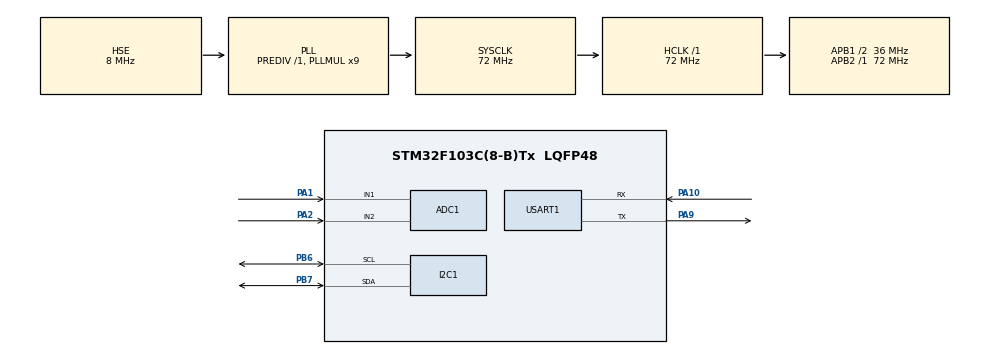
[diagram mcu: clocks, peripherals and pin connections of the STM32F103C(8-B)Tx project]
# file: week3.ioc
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ADC1.Channel-0\#ChannelRegularConversion=ADC_CHANNEL_1
ADC1.Channel-1\#ChannelRegularConversion=ADC_CHANNEL_2
ADC1.ContinuousConvMode=DISABLE
ADC1.DiscontinuousConvMode=ENABLE
ADC1.NbrOfConversion=2
ADC1.NbrOfConversionFlag=1
ADC1.Rank-0\#ChannelRegularConversion=1
ADC1.Rank-1\#ChannelRegularConversion=2
ADC1.SamplingTime-0\#ChannelRegularConversion=ADC_SAMPLETIME_239CYCLES_5
ADC1.SamplingTime-1\#ChannelRegularConversion=ADC_SAMPLETIME_239CYCLES_5
ADC1.master=1
I2C1.I2C_Mode=I2C_Fast
Mcu.Family=STM32F1
Mcu.Name=STM32F103C(8-B)Tx
Mcu.Package=LQFP48
NVIC.ADC1_2_IRQn=true\:0\:0\:false\:false\:true\:true\:true\:true
NVIC.PriorityGroup=NVIC_PRIORITYGROUP_4
NVIC.USART1_IRQn=true\:2\:0\:true\:false\:true\:true\:true\:true
PA1.Signal=ADCx_IN1
PA10.Mode=Asynchronous
PA10.Signal=USART1_RX
PA13.Mode=Serial_Wire
PA13.Signal=SYS_JTMS-SWDIO
PA14.Mode=Serial_Wire
PA14.Signal=SYS_JTCK-SWCLK
PA2.Signal=ADCx_IN2
PA9.Mode=Asynchronous
PA9.Signal=USART1_TX
PB6.Mode=I2C
PB6.Signal=I2C1_SCL
PB7.Mode=I2C
PB7.Signal=I2C1_SDA
PD0-OSC_IN.Mode=HSE-External-Oscillator
PD0-OSC_IN.Signal=RCC_OSC_IN
PD1-OSC_OUT.Mode=HSE-External-Oscillator
PD1-OSC_OUT.Signal=RCC_OSC_OUT
ProjectManager.HeapSize=0x200
ProjectManager.StackSize=0x400
ProjectManager.TargetToolchain=Makefile
RCC.ADCPresc=RCC_ADCPCLK2_DIV6
RCC.AHBFreq_Value=72000000
RCC.APB1CLKDivider=RCC_HCLK_DIV2
RCC.APB1Freq_Value=36000000
RCC.APB1TimFreq_Value=72000000
RCC.APB2Freq_Value=72000000
RCC.APB2TimFreq_Value=72000000
RCC.HCLKFreq_Value=72000000
RCC.PLLMUL=RCC_PLL_MUL9
RCC.PLLSourceVirtual=RCC_PLLSOURCE_HSE
RCC.SYSCLKFreq_VALUE=72000000
RCC.SYSCLKSource=RCC_SYSCLKSOURCE_PLLCLK
RCC.USBFreq_Value=72000000
SH.ADCx_IN1.0=ADC1_IN1,IN1
SH.ADCx_IN2.0=ADC1_IN2,IN2
USART1.VirtualMode=VM_ASYNC
board=custom

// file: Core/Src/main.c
/* USER CODE BEGIN Header */
/**
  ******************************************************************************
  * @file           : main.c
  * @brief          : Main program body
  ******************************************************************************
  * @attention
  *
  * Copyright (c) 2026 STMicroelectronics.
  * All rights reserved.
  *
  * This software is licensed under terms that can be found in the LICENSE file
  * in the root directory of this software component.
  * If no LICENSE file comes with this software, it is provided AS-IS.
  *
  ******************************************************************************
  */
/* USER CODE END Header */
#include "main.h"
#include "adc.h"
#include "i2c.h"
#include "usart.h"
#include "gpio.h"

/* USER CODE BEGIN Includes */
#include "stdio.h"
#include "string.h"

#include "math.h"
#include "stdarg.h"
#include "OLED.h"
/* USER CODE END Includes */

/* USER CODE BEGIN PD */
#define PI 3.1415926f
/* USER CODE END PD */

void SystemClock_Config(void);

/* USER CODE BEGIN 0 */
uint8_t Receive_Data[1] = {0}; //接收数据数组
float data_test[1] = {0}; //接收数据数组
float t = 0.0f;
uint8_t receivedByte;

  void Vofa_FireWater(const char *format, ...)
  {
      uint8_t txBuffer[100];
      uint32_t n;
      va_list args;
      va_start(args, format);
      n = vsnprintf((char *)txBuffer, 100, format, args);

      HAL_UART_Transmit_IT(&huart1, (uint8_t *)txBuffer, n);
      //......................................

      va_end(args);
  }

  void Vofa_JustFloat(float *_data, uint8_t _num)
  {
      uint8_t tempData[100];
      uint8_t temp_end[4] = {0, 0, 0x80, 0x7F};
      float temp_copy[_num];

      memcpy(&temp_copy, _data, sizeof(float) * _num);

      memcpy(tempData, (uint8_t *)&temp_copy, sizeof(temp_copy));
      memcpy(&tempData[_num * 4], &temp_end[0], 4);

      HAL_UART_Transmit_IT(&huart1, tempData, (_num + 1) * 4);
      //......................................
  }

  char doItOnce = '0';

  uint32_t ADC_Value[2];

/* USER CODE END 0 */

int main(void)
{

  /* MCU Configuration--------------------------------------------------------*/

  /* Reset of all peripherals, Initializes the Flash interface and the Systick. */
  HAL_Init();

  /* Configure the system clock */
  SystemClock_Config();

  /* Initialize all configured peripherals */
  MX_GPIO_Init();
  MX_USART1_UART_Init();
  MX_ADC1_Init();
  MX_I2C1_Init();
  /* USER CODE BEGIN 2 */

  HAL_UART_Receive_IT(&huart1, Receive_Data, 1); //接收数据

  OLED_init();
  OLED_display_on();
  OLED_LOGO();
  HAL_Delay(1000);

  HAL_ADC_Start(&hadc1);
  HAL_ADCEx_Calibration_Start(&hadc1);

  /* USER CODE END 2 */

  /* Infinite loop */
  while (1)
  {

    /* USER CODE BEGIN 3 */

    /* JustFloat */
    if(Receive_Data[0] == '1')
    {
      data_test[0] = 2*sin(t*PI);
      t+= 0.02f;
      if(doItOnce == '0')
      {
        OLED_operate_gram(PEN_CLEAR);
        doItOnce = '1';
        OLED_show_string(0, 0, "Sine");
        OLED_refresh_gram();
      }
    }
    else if(Receive_Data[0] == '2')
    {
      data_test[0] = 1*t - 0.5f;
      t+= 0.02f;
      if(doItOnce == '0')
      {
        OLED_operate_gram(PEN_CLEAR);
        doItOnce = '1';
        OLED_show_string(0, 0, "Sawtooth");
        OLED_refresh_gram();
      }
      if(t >= 1)
      {
        t = 0;
      }
    }
    else if(Receive_Data[0] == '3')
    {
      data_test[0] = 0.5*(t < 0.75 ? 1 : -1);
      t+= 0.01f;
      if(doItOnce == '0')
      {
        OLED_operate_gram(PEN_CLEAR);
        doItOnce = '1';
        OLED_show_string(0, 0, "Square");
        OLED_refresh_gram();
      }
      if(t >= 1.5)
      {
        t = 0;
      }
    }
    else if(Receive_Data[0] == '4')
    {
      for(int i=0;i<1;i++)  // 放弃y轴值，因为懒得改data_test的长度了
      {
        HAL_ADC_Start(&hadc1);
        HAL_ADC_PollForConversion(&hadc1,10);
        ADC_Value[i] = HAL_ADC_GetValue(&hadc1);
        data_test[i] = ADC_Value[i] * 3.3 / 4095;
      }
      if(doItOnce == '0')
      {
        OLED_operate_gram(PEN_CLEAR);
        doItOnce = '1';
        OLED_show_string(0, 0, "ADC");
        OLED_refresh_gram();
      }
    }

    Vofa_JustFloat(data_test, 1);
    HAL_Delay(10);

  }
  /* USER CODE END 3 */
}

void SystemClock_Config(void)
{
  RCC_OscInitTypeDef RCC_OscInitStruct = {0};
  RCC_ClkInitTypeDef RCC_ClkInitStruct = {0};
  RCC_PeriphCLKInitTypeDef PeriphClkInit = {0};

  /** Initializes the RCC Oscillators according to the specified parameters
  * in the RCC_OscInitTypeDef structure.
  */
  RCC_OscInitStruct.OscillatorType = RCC_OSCILLATORTYPE_HSE;
  RCC_OscInitStruct.HSEState = RCC_HSE_ON;
  RCC_OscInitStruct.HSEPredivValue = RCC_HSE_PREDIV_DIV1;
  RCC_OscInitStruct.HSIState = RCC_HSI_ON;
  RCC_OscInitStruct.PLL.PLLState = RCC_PLL_ON;
  RCC_OscInitStruct.PLL.PLLSource = RCC_PLLSOURCE_HSE;
  RCC_OscInitStruct.PLL.PLLMUL = RCC_PLL_MUL9;
  if (HAL_RCC_OscConfig(&RCC_OscInitStruct) != HAL_OK)
  {
    Error_Handler();
  }

  /** Initializes the CPU, AHB and APB buses clocks
  */
  RCC_ClkInitStruct.ClockType = RCC_CLOCKTYPE_HCLK|RCC_CLOCKTYPE_SYSCLK
                              |RCC_CLOCKTYPE_PCLK1|RCC_CLOCKTYPE_PCLK2;
  RCC_ClkInitStruct.SYSCLKSource = RCC_SYSCLKSOURCE_PLLCLK;
  RCC_ClkInitStruct.AHBCLKDivider = RCC_SYSCLK_DIV1;
  RCC_ClkInitStruct.APB1CLKDivider = RCC_HCLK_DIV2;
  RCC_ClkInitStruct.APB2CLKDivider = RCC_HCLK_DIV1;

  if (HAL_RCC_ClockConfig(&RCC_ClkInitStruct, FLASH_LATENCY_2) != HAL_OK)
  {
    Error_Handler();
  }
  PeriphClkInit.PeriphClockSelection = RCC_PERIPHCLK_ADC;
  PeriphClkInit.AdcClockSelection = RCC_ADCPCLK2_DIV6;
  if (HAL_RCCEx_PeriphCLKConfig(&PeriphClkInit) != HAL_OK)
  {
    Error_Handler();
  }
}

/* USER CODE BEGIN 4 */
void HAL_UART_RxCpltCallback(UART_HandleTypeDef *huart)
{
  if(huart->Instance == USART1)
  {
    if(Receive_Data[0] != '1' && Receive_Data[0] != '2' && Receive_Data[0] != '3' && Receive_Data[0] != '4')
    {
      Receive_Data[0] = receivedByte;
    }
    else
    {
      receivedByte = Receive_Data[0];
    }
    HAL_UART_Receive_IT(&huart1, Receive_Data, 1); //接收数据
    doItOnce = '0';
  }
}

/* USER CODE END 4 */

void Error_Handler(void)
{
  __disable_irq();
  while (1)
  {
  }
}
